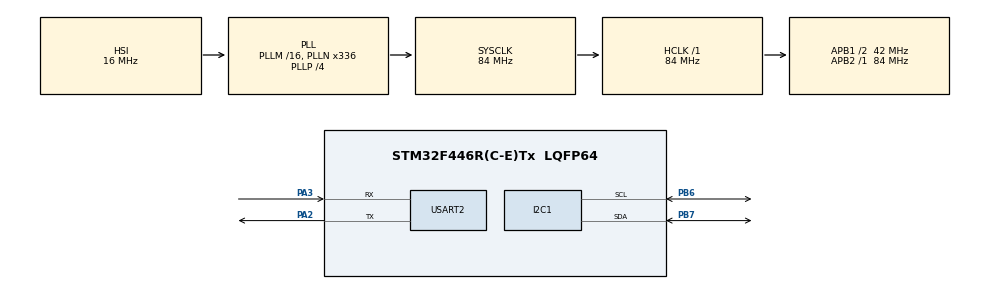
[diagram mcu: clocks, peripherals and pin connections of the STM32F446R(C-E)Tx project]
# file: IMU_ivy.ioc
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Mcu.Family=STM32F4
Mcu.Name=STM32F446R(C-E)Tx
Mcu.Package=LQFP64
NVIC.PriorityGroup=NVIC_PRIORITYGROUP_0
PA2.Mode=Asynchronous
PA2.Signal=USART2_TX
PA3.Mode=Asynchronous
PA3.Signal=USART2_RX
PB6.Mode=I2C
PB6.Signal=I2C1_SCL
PB7.Mode=I2C
PB7.Signal=I2C1_SDA
ProjectManager.HeapSize=0x200
ProjectManager.StackSize=0x400
ProjectManager.TargetToolchain=STM32CubeIDE
RCC.AHBFreq_Value=84000000
RCC.APB1CLKDivider=RCC_HCLK_DIV2
RCC.APB1Freq_Value=42000000
RCC.APB1TimFreq_Value=84000000
RCC.APB2Freq_Value=84000000
RCC.APB2TimFreq_Value=84000000
RCC.CortexFreq_Value=84000000
RCC.FLatency-AdvancedSettings=FLASH_LATENCY_2
RCC.HCLKFreq_Value=84000000
RCC.HSE_VALUE=8000000
RCC.HSI_VALUE=16000000
RCC.LSE_VALUE=32768
RCC.PLLN=336
RCC.PLLP=RCC_PLLP_DIV4
RCC.SYSCLKFreq_VALUE=84000000
RCC.SYSCLKSource=RCC_SYSCLKSOURCE_PLLCLK
RCC.USBFreq_Value=168000000
RCC.VCOOutputFreq_Value=336000000
USART2.VirtualMode=VM_ASYNC
board=NUCLEO-F446RE

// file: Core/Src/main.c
/* USER CODE BEGIN Header */
/**
  ******************************************************************************
  * @file           : main.c
  * @brief          : Main program body
  ******************************************************************************
  * @attention
  *
  * Copyright (c) 2025 STMicroelectronics.
  * All rights reserved.
  *
  * This software is licensed under terms that can be found in the LICENSE file
  * in the root directory of this software component.
  * If no LICENSE file comes with this software, it is provided AS-IS.
  *
  ******************************************************************************
  */
/* USER CODE END Header */
#include "main.h"

/* USER CODE BEGIN Includes */
#include "bno055_stm32.h"
/* USER CODE END Includes */

I2C_HandleTypeDef hi2c1;

UART_HandleTypeDef huart2;

void SystemClock_Config(void);
static void MX_GPIO_Init(void);
static void MX_I2C1_Init(void);
static void MX_USART2_UART_Init(void);

int main(void)
{

  /* MCU Configuration--------------------------------------------------------*/

  /* Reset of all peripherals, Initializes the Flash interface and the Systick. */
  HAL_Init();

  /* Configure the system clock */
  SystemClock_Config();

  /* Initialize all configured peripherals */
  MX_GPIO_Init();
  MX_I2C1_Init();
  MX_USART2_UART_Init();
  /* USER CODE BEGIN 2 */
  bno055_assignI2C(&hi2c1);
  bno055_setup();
  bno055_axis_map_t axis = {
      .x = BNO055_AXIS_X,
      .x_sign = BNO055_AXIS_SIGN_POSITIVE,
      .y = BNO055_AXIS_Y,
      .y_sign = BNO055_AXIS_SIGN_POSITIVE,
      .z = BNO055_AXIS_Z,
      .z_sign = BNO055_AXIS_SIGN_NEGATIVE
    };
    bno055_setAxisMap(axis);
    //mapping axis should be between those 2 lines
  bno055_setOperationModeNDOF();

  /* USER CODE END 2 */

  /* Infinite loop */
  /* USER CODE BEGIN WHILE */
  while (1)
  {
	  //printf only prints to terminal if you redirect __io__putchar() to uart2
	  //check user code 4
	  //orientation
	  //bno055_vector_t v = bno055_getVectorEuler();
	  //printf("Heading: %.2f Roll: %.2f Pitch: %.2f\r\n", v.x, v.y, v.z);

	  bno055_vector_t v = bno055_getVectorGyroscope();
	  printf("Gyro:\nW: %.2f X: %.2f Y: %.2f Z: %.2f\r\n", v.w, v.x, v.y, v.z);
	  v = bno055_getVectorLinearAccel();
	  printf("Acceleration:\nW: %.2f X: %.2f Y: %.2f Z: %.2f\r\n", v.w, v.x, v.y, v.z);
	  v = bno055_getVectorEuler();
	  printf("orientation:\nW: %.2f X: %.2f Y: %.2f Z: %.2f\r\n", v.w, v.x, v.y, v.z);
	  HAL_Delay(400);
    /* USER CODE END WHILE */

  }
}

void SystemClock_Config(void)
{
  RCC_OscInitTypeDef RCC_OscInitStruct = {0};
  RCC_ClkInitTypeDef RCC_ClkInitStruct = {0};

  /** Configure the main internal regulator output voltage
  */
  __HAL_RCC_PWR_CLK_ENABLE();
  __HAL_PWR_VOLTAGESCALING_CONFIG(PWR_REGULATOR_VOLTAGE_SCALE3);

  /** Initializes the RCC Oscillators according to the specified parameters
  * in the RCC_OscInitTypeDef structure.
  */
  RCC_OscInitStruct.OscillatorType = RCC_OSCILLATORTYPE_HSI;
  RCC_OscInitStruct.HSIState = RCC_HSI_ON;
  RCC_OscInitStruct.HSICalibrationValue = RCC_HSICALIBRATION_DEFAULT;
  RCC_OscInitStruct.PLL.PLLState = RCC_PLL_ON;
  RCC_OscInitStruct.PLL.PLLSource = RCC_PLLSOURCE_HSI;
  RCC_OscInitStruct.PLL.PLLM = 16;
  RCC_OscInitStruct.PLL.PLLN = 336;
  RCC_OscInitStruct.PLL.PLLP = RCC_PLLP_DIV4;
  RCC_OscInitStruct.PLL.PLLQ = 2;
  RCC_OscInitStruct.PLL.PLLR = 2;
  if (HAL_RCC_OscConfig(&RCC_OscInitStruct) != HAL_OK)
  {
    Error_Handler();
  }

  /** Initializes the CPU, AHB and APB buses clocks
  */
  RCC_ClkInitStruct.ClockType = RCC_CLOCKTYPE_HCLK|RCC_CLOCKTYPE_SYSCLK
                              |RCC_CLOCKTYPE_PCLK1|RCC_CLOCKTYPE_PCLK2;
  RCC_ClkInitStruct.SYSCLKSource = RCC_SYSCLKSOURCE_PLLCLK;
  RCC_ClkInitStruct.AHBCLKDivider = RCC_SYSCLK_DIV1;
  RCC_ClkInitStruct.APB1CLKDivider = RCC_HCLK_DIV2;
  RCC_ClkInitStruct.APB2CLKDivider = RCC_HCLK_DIV1;

  if (HAL_RCC_ClockConfig(&RCC_ClkInitStruct, FLASH_LATENCY_2) != HAL_OK)
  {
    Error_Handler();
  }
}

static void MX_I2C1_Init(void)
{

  hi2c1.Instance = I2C1;
  hi2c1.Init.ClockSpeed = 100000;
  hi2c1.Init.DutyCycle = I2C_DUTYCYCLE_2;
  hi2c1.Init.OwnAddress1 = 0;
  hi2c1.Init.AddressingMode = I2C_ADDRESSINGMODE_7BIT;
  hi2c1.Init.DualAddressMode = I2C_DUALADDRESS_DISABLE;
  hi2c1.Init.OwnAddress2 = 0;
  hi2c1.Init.GeneralCallMode = I2C_GENERALCALL_DISABLE;
  hi2c1.Init.NoStretchMode = I2C_NOSTRETCH_DISABLE;
  if (HAL_I2C_Init(&hi2c1) != HAL_OK)
  {
    Error_Handler();
  }

}

static void MX_USART2_UART_Init(void)
{

  huart2.Instance = USART2;
  huart2.Init.BaudRate = 115200;
  huart2.Init.WordLength = UART_WORDLENGTH_8B;
  huart2.Init.StopBits = UART_STOPBITS_1;
  huart2.Init.Parity = UART_PARITY_NONE;
  huart2.Init.Mode = UART_MODE_TX_RX;
  huart2.Init.HwFlowCtl = UART_HWCONTROL_NONE;
  huart2.Init.OverSampling = UART_OVERSAMPLING_16;
  if (HAL_UART_Init(&huart2) != HAL_OK)
  {
    Error_Handler();
  }

}

static void MX_GPIO_Init(void)
{

  /* GPIO Ports Clock Enable */
  __HAL_RCC_GPIOA_CLK_ENABLE();
  __HAL_RCC_GPIOB_CLK_ENABLE();

}

/* USER CODE BEGIN 4 */
int __io_putchar(int ch)
{
  HAL_UART_Transmit(&huart2, (uint8_t *)&ch, 1, HAL_MAX_DELAY);
  return ch;
}
/* USER CODE END 4 */

void Error_Handler(void)
{
  __disable_irq();
  while (1)
  {
  }
}
